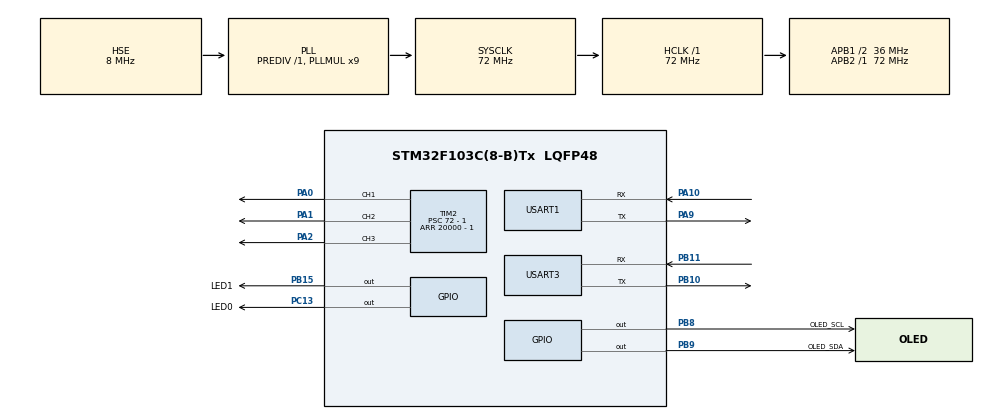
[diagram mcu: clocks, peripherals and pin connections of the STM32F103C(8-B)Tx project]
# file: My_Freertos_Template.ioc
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Dma.Request0=USART3_RX
Dma.Request1=USART3_TX
Dma.USART3_RX.0.Direction=DMA_PERIPH_TO_MEMORY
Dma.USART3_RX.0.Instance=DMA1_Channel3
Dma.USART3_RX.0.MemDataAlignment=DMA_MDATAALIGN_BYTE
Dma.USART3_RX.0.MemInc=DMA_MINC_ENABLE
Dma.USART3_RX.0.Mode=DMA_CIRCULAR
Dma.USART3_RX.0.PeriphDataAlignment=DMA_PDATAALIGN_BYTE
Dma.USART3_RX.0.PeriphInc=DMA_PINC_DISABLE
Dma.USART3_RX.0.Priority=DMA_PRIORITY_VERY_HIGH
Dma.USART3_TX.1.Direction=DMA_MEMORY_TO_PERIPH
Dma.USART3_TX.1.Instance=DMA1_Channel2
Dma.USART3_TX.1.MemDataAlignment=DMA_MDATAALIGN_BYTE
Dma.USART3_TX.1.MemInc=DMA_MINC_ENABLE
Dma.USART3_TX.1.Mode=DMA_CIRCULAR
Dma.USART3_TX.1.PeriphDataAlignment=DMA_PDATAALIGN_BYTE
Dma.USART3_TX.1.PeriphInc=DMA_PINC_DISABLE
Dma.USART3_TX.1.Priority=DMA_PRIORITY_LOW
FREERTOS.Tasks01=defaultTask,0,128,StartDefaultTask,Default,NULL,Dynamic,NULL,NULL;myTask02,-3,128,StartTask02,Default,NULL,Dynamic,NULL,NULL
Mcu.Family=STM32F1
Mcu.Name=STM32F103C(8-B)Tx
Mcu.Package=LQFP48
NVIC.DMA1_Channel2_IRQn=true\:5\:0\:false\:false\:true\:true\:false\:true\:true
NVIC.DMA1_Channel3_IRQn=true\:5\:0\:false\:false\:true\:true\:false\:true\:true
NVIC.PriorityGroup=NVIC_PRIORITYGROUP_4
NVIC.TIM1_UP_IRQn=true\:15\:0\:false\:false\:true\:false\:false\:true\:true
NVIC.TIM3_IRQn=true\:5\:0\:false\:false\:true\:true\:true\:true\:true
NVIC.TimeBase=TIM1_UP_IRQn
NVIC.TimeBaseIP=TIM1
NVIC.USART3_IRQn=true\:5\:0\:false\:false\:true\:true\:true\:true\:true
PA0-WKUP.Signal=S_TIM2_CH1_ETR
PA1.Signal=S_TIM2_CH2
PA10.Mode=Asynchronous
PA10.Signal=USART1_RX
PA13.Mode=Serial_Wire
PA13.Signal=SYS_JTMS-SWDIO
PA14.Mode=Serial_Wire
PA14.Signal=SYS_JTCK-SWCLK
PA2.Signal=S_TIM2_CH3
PA9.Mode=Asynchronous
PA9.Signal=USART1_TX
PB10.Mode=Asynchronous
PB10.Signal=USART3_TX
PB11.Mode=Asynchronous
PB11.Signal=USART3_RX
PB15.GPIO_Label=LED1
PB15.Signal=GPIO_Output
PB8.GPIO_Label=OLED_SCL
PB8.GPIO_Speed=GPIO_SPEED_FREQ_HIGH
PB8.PinState=GPIO_PIN_SET
PB8.Signal=GPIO_Output
PB9.GPIO_Label=OLED_SDA
PB9.GPIO_ModeDefaultOutputPP=GPIO_MODE_OUTPUT_OD
PB9.GPIO_PuPd=GPIO_PULLUP
PB9.GPIO_Speed=GPIO_SPEED_FREQ_HIGH
PB9.PinState=GPIO_PIN_SET
PB9.Signal=GPIO_Output
PC13-TAMPER-RTC.GPIO_Label=LED0
PC13-TAMPER-RTC.Signal=GPIO_Output
PD0-OSC_IN.Mode=HSE-External-Oscillator
PD0-OSC_IN.Signal=RCC_OSC_IN
PD1-OSC_OUT.Mode=HSE-External-Oscillator
PD1-OSC_OUT.Signal=RCC_OSC_OUT
ProjectManager.HeapSize=0x200
ProjectManager.StackSize=0x400
ProjectManager.TargetToolchain=SW4STM32
RCC.AHBFreq_Value=72000000
RCC.APB1CLKDivider=RCC_HCLK_DIV2
RCC.APB1Freq_Value=36000000
RCC.APB1TimFreq_Value=72000000
RCC.APB2Freq_Value=72000000
RCC.APB2TimFreq_Value=72000000
RCC.HCLKFreq_Value=72000000
RCC.PLLMUL=RCC_PLL_MUL9
RCC.PLLSourceVirtual=RCC_PLLSOURCE_HSE
RCC.SYSCLKFreq_VALUE=72000000
RCC.SYSCLKSource=RCC_SYSCLKSOURCE_PLLCLK
RCC.USBFreq_Value=72000000
SH.S_TIM2_CH1_ETR.0=TIM2_CH1,PWM Generation1 CH1
SH.S_TIM2_CH2.0=TIM2_CH2,PWM Generation2 CH2
SH.S_TIM2_CH3.0=TIM2_CH3,PWM Generation3 CH3
TIM2.Channel-PWM\ Generation1\ CH1=TIM_CHANNEL_1
TIM2.Channel-PWM\ Generation2\ CH2=TIM_CHANNEL_2
TIM2.Channel-PWM\ Generation3\ CH3=TIM_CHANNEL_3
TIM2.Period=20000 - 1 
TIM2.Prescaler=72 - 1
TIM3.Period=100 - 1
TIM3.Prescaler=7200 - 1
USART1.VirtualMode=VM_ASYNC
USART3.VirtualMode=VM_ASYNC
VP_FREERTOS_VS_CMSIS_V1.Mode=CMSIS_V1
VP_SYS_VS_tim1.Mode=TIM1
VP_TIM2_VS_ClockSourceINT.Mode=Internal
VP_TIM3_VS_ClockSourceINT.Mode=Internal
board=custom

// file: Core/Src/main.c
/* USER CODE BEGIN Header */
/**
  ******************************************************************************
  * @file           : main.c
  * @brief          : Main program body
  ******************************************************************************
  * @attention
  *
  * Copyright (c) 2023 STMicroelectronics.
  * All rights reserved.
  *
  * This software is licensed under terms that can be found in the LICENSE file
  * in the root directory of this software component.
  * If no LICENSE file comes with this software, it is provided AS-IS.
  *
  ******************************************************************************
  */
/* USER CODE END Header */
#include "main.h"
#include "cmsis_os.h"
#include "dma.h"
#include "tim.h"
#include "usart.h"
#include "gpio.h"

/* USER CODE BEGIN Includes */
#include "Uart_RxPackage.h"
/* USER CODE END Includes */

void SystemClock_Config(void);
void MX_FREERTOS_Init(void);

/* USER CODE BEGIN 0 */
extern UartRx_Package Uart3_Package;
/* USER CODE END 0 */

int main(void)
{

  /* MCU Configuration--------------------------------------------------------*/

  /* Reset of all peripherals, Initializes the Flash interface and the Systick. */
  HAL_Init();

  /* Configure the system clock */
  SystemClock_Config();

  /* Initialize all configured peripherals */
  MX_GPIO_Init();
  MX_USART1_UART_Init();
  MX_DMA_Init();
  MX_USART3_UART_Init();
  MX_TIM3_Init();
  MX_TIM2_Init();
  /* USER CODE BEGIN 2 */
//    HAL_TIM_PWM_Start(&htim2,TIM_CHANNEL_1);
//    HAL_TIM_PWM_Start(&htim2,TIM_CHANNEL_2);
//    HAL_TIM_PWM_Start(&htim2,TIM_CHANNEL_3);
  /* USER CODE END 2 */

  /* Call init function for freertos objects (in freertos.c) */
  MX_FREERTOS_Init();

  /* Start scheduler */
  osKernelStart();

  /* We should never get here as control is now taken by the scheduler */
  /* Infinite loop */
  while (1)
  {

  }
}

void SystemClock_Config(void)
{
  RCC_OscInitTypeDef RCC_OscInitStruct = {0};
  RCC_ClkInitTypeDef RCC_ClkInitStruct = {0};

  /** Initializes the RCC Oscillators according to the specified parameters
  * in the RCC_OscInitTypeDef structure.
  */
  RCC_OscInitStruct.OscillatorType = RCC_OSCILLATORTYPE_HSE;
  RCC_OscInitStruct.HSEState = RCC_HSE_ON;
  RCC_OscInitStruct.HSEPredivValue = RCC_HSE_PREDIV_DIV1;
  RCC_OscInitStruct.HSIState = RCC_HSI_ON;
  RCC_OscInitStruct.PLL.PLLState = RCC_PLL_ON;
  RCC_OscInitStruct.PLL.PLLSource = RCC_PLLSOURCE_HSE;
  RCC_OscInitStruct.PLL.PLLMUL = RCC_PLL_MUL9;
  if (HAL_RCC_OscConfig(&RCC_OscInitStruct) != HAL_OK)
  {
    Error_Handler();
  }

  /** Initializes the CPU, AHB and APB buses clocks
  */
  RCC_ClkInitStruct.ClockType = RCC_CLOCKTYPE_HCLK|RCC_CLOCKTYPE_SYSCLK
                              |RCC_CLOCKTYPE_PCLK1|RCC_CLOCKTYPE_PCLK2;
  RCC_ClkInitStruct.SYSCLKSource = RCC_SYSCLKSOURCE_PLLCLK;
  RCC_ClkInitStruct.AHBCLKDivider = RCC_SYSCLK_DIV1;
  RCC_ClkInitStruct.APB1CLKDivider = RCC_HCLK_DIV2;
  RCC_ClkInitStruct.APB2CLKDivider = RCC_HCLK_DIV1;

  if (HAL_RCC_ClockConfig(&RCC_ClkInitStruct, FLASH_LATENCY_2) != HAL_OK)
  {
    Error_Handler();
  }
}

/* USER CODE BEGIN 4 */
//串口接收中断
void HAL_UART_RxCpltCallback(UART_HandleTypeDef *huart)
{
    if(huart->Instance == USART3)
    {
        Uart3_Package.RxStartFalg = 1; //�?始接收数�?
        *(Uart3_Package.Rx_Package+Uart3_Package.Cur_RxLength) = Uart3_Package.TempData;
        Uart3_Package.Cur_RxLength++;
    }
}

/* USER CODE END 4 */

void HAL_TIM_PeriodElapsedCallback(TIM_HandleTypeDef *htim)
{
  /* USER CODE BEGIN Callback 0 */
    static uint16_t i=0;
  /* USER CODE END Callback 0 */
  if (htim->Instance == TIM1) {
    HAL_IncTick();
  }
  /* USER CODE BEGIN Callback 1 */
    static uint16_t Tempnum = 0;
    if(htim->Instance == TIM3) //判断TIM2的更新中�??????????
    {
        if(Uart3_Package.RxStartFalg == 1) //若串口开始接收数�???????
        {
            if(Tempnum == Uart3_Package.Cur_RxLength ) //说明串口结束了接收数�???
            {
                Uart3_Package.RxEndFalg = 1;
                Uart3_Package.RxStartFalg = 0;
            }
            else
            {
                Tempnum = Uart3_Package.Cur_RxLength;
            }
        }
    }

  /* USER CODE END Callback 1 */
}

void Error_Handler(void)
{
  __disable_irq();
  while (1)
  {
  }
}

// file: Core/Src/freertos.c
/* USER CODE BEGIN Header */
/**
  ******************************************************************************
  * File Name          : freertos.c
  * Description        : Code for freertos applications
  ******************************************************************************
  * @attention
  *
  * Copyright (c) 2023 STMicroelectronics.
  * All rights reserved.
  *
  * This software is licensed under terms that can be found in the LICENSE file
  * in the root directory of this software component.
  * If no LICENSE file comes with this software, it is provided AS-IS.
  *
  ******************************************************************************
  */
/* USER CODE END Header */

#include "FreeRTOS.h"
#include "task.h"
#include "main.h"
#include "cmsis_os.h"

/* USER CODE BEGIN Includes */
#include "tim.h"
#include "retarget.h"
#include "usart.h"
#include "OLED.h"
#include "BrushlessMotor.h"
#include "Uart_RxPackage.h"
/* USER CODE END Includes */

/* USER CODE BEGIN Variables */
BRUSHLESSMOTOR BrushLessMotor1;
BRUSHLESSMOTOR BrushLessMotor2;
BRUSHLESSMOTOR BrushLessMotor3;

UartRx_Package Uart3_Package; //用于蓝牙数据交互
/* USER CODE END Variables */
osThreadId defaultTaskHandle;
osThreadId myTask02Handle;

void StartDefaultTask(void const * argument);
void StartTask02(void const * argument);

void MX_FREERTOS_Init(void); /* (MISRA C 2004 rule 8.1) */

/* GetIdleTaskMemory prototype (linked to static allocation support) */
void vApplicationGetIdleTaskMemory( StaticTask_t **ppxIdleTaskTCBBuffer, StackType_t **ppxIdleTaskStackBuffer, uint32_t *pulIdleTaskStackSize );

/* USER CODE BEGIN GET_IDLE_TASK_MEMORY */
static StaticTask_t xIdleTaskTCBBuffer;
static StackType_t xIdleStack[configMINIMAL_STACK_SIZE];

void vApplicationGetIdleTaskMemory( StaticTask_t **ppxIdleTaskTCBBuffer, StackType_t **ppxIdleTaskStackBuffer, uint32_t *pulIdleTaskStackSize )
{
  *ppxIdleTaskTCBBuffer = &xIdleTaskTCBBuffer;
  *ppxIdleTaskStackBuffer = &xIdleStack[0];
  *pulIdleTaskStackSize = configMINIMAL_STACK_SIZE;
  /* place for user code */
}
/* USER CODE END GET_IDLE_TASK_MEMORY */

void MX_FREERTOS_Init(void) {
  /* USER CODE BEGIN Init */
    RetargetInit(&huart1);
    OLED_Init();
    BrushLessMotor_Init(&BrushLessMotor1,&htim2,TIM_CHANNEL_1);
    BrushLessMotor_Init(&BrushLessMotor2,&htim2,TIM_CHANNEL_2);
    BrushLessMotor_Init(&BrushLessMotor3,&htim2,TIM_CHANNEL_3);

    Uart_RxPackage_Init(&Uart3_Package,&htim3,100,&huart3);
    Uart_PackageStart(&Uart3_Package);
  /* USER CODE END Init */

  /* Create the thread(s) */
  /* definition and creation of defaultTask */
  osThreadDef(defaultTask, StartDefaultTask, osPriorityNormal, 0, 128);
  defaultTaskHandle = osThreadCreate(osThread(defaultTask), NULL);

  /* definition and creation of myTask02 */
  osThreadDef(myTask02, StartTask02, osPriorityIdle, 0, 128*3);
  myTask02Handle = osThreadCreate(osThread(myTask02), NULL);

}

void StartDefaultTask(void const * argument)
{
  /* USER CODE BEGIN StartDefaultTask */
  /* Infinite loop */
    OLED_ShowString(1,1,"Beautiful!");
    static uint16_t i = 0;

    AllBrushlessMotor_Start(BrushLessMotor1,BrushLessMotor2,BrushLessMotor3);
    for(i = 800;i<=2200;i++)
    {
        BrushLessMotor_Set(&BrushLessMotor1,i);
        BrushLessMotor_Move(BrushLessMotor1);

        BrushLessMotor_Set(&BrushLessMotor2,i);
        BrushLessMotor_Move(BrushLessMotor2);

        BrushLessMotor_Set(&BrushLessMotor3,i);
        BrushLessMotor_Move(BrushLessMotor3);

        osDelay(20);
    }
    for(;;)
  {
      osDelay(100);
  }
  /* USER CODE END StartDefaultTask */
}

void StartTask02(void const * argument)
{
  /* USER CODE BEGIN StartTask02 */
  /* Infinite loop */
  uint8_t i = 0;
  for(;;)
  {
      HAL_GPIO_TogglePin(LED0_GPIO_Port,LED0_Pin);
      if(Uart3_Package.RxEndFalg == 1)
      {
          HAL_UART_Transmit(&huart1,Uart3_Package.Rx_Package,Uart3_Package.Cur_RxLength,999);
      }
      Uart_DoTask(&Uart3_Package);
      //printf("Duty = %d Period = %d\r\n",BrushLessMotor1.Duty,BrushLessMotor1.Period);
      osDelay(100);
  }
  /* USER CODE END StartTask02 */
}
